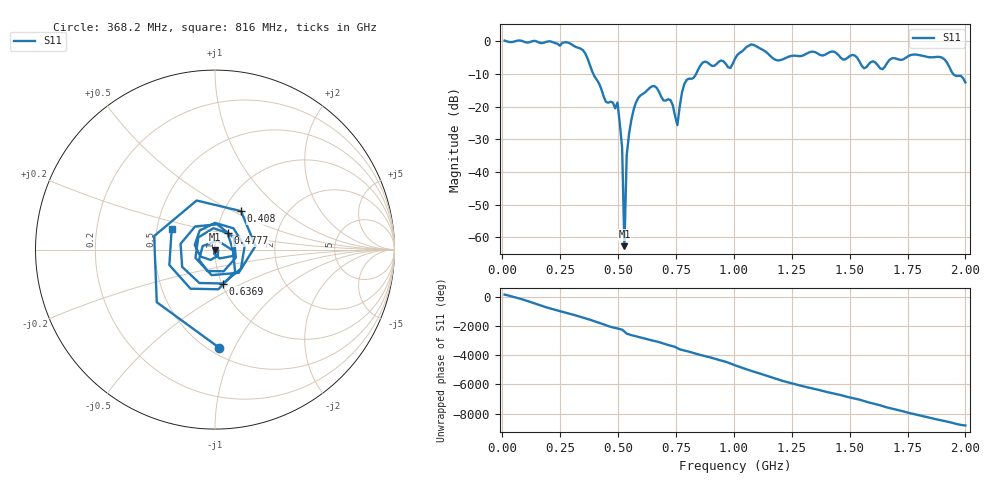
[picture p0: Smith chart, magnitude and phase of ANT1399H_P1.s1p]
!Created with skrf (http://scikit-rf.org).
# Hz S RI R 50.0
!freq ReS11 ImS11
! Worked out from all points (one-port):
!   201 points, 10 MHz to 2 GHz, reference 50 ohm
!   lowest |S11| = -62.7 dB at 527.4 MHz (marker M1), VSWR 1.00, Z = 49.9 + j0.0526 ohm
!   |S11| at or under -10 dB: 393.5 MHz to 836.8 MHz (443.3 MHz wide, 72.1 % of centre); 1.948 GHz to end of sweep
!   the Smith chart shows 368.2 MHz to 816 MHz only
!   S11 on the Smith chart (normalised r, x): 368.2 MHz: 0.56, -0.88; 408 MHz: 1.20, +0.55; 477.6 MHz: 1.13, +0.21; 636.9 MHz: 1.01, -0.40; 816 MHz: 0.60, +0.15
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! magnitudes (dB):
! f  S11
! 10 MHz  0.2
! 258.8 MHz  -0.5
! 368.2 MHz  -5.2
! 408 MHz  -11.7
! 447.8 MHz  -18.5
! 477.6 MHz  -18.7
! 497.6 MHz  -18.7
! 507.5 MHz  -25.1
! 517.5 MHz  -32.5
! 527.4 MHz  -62.7
! 537.4 MHz  -34.8
! 547.3 MHz  -28.4
! 577.1 MHz  -18.7
! 636.9 MHz  -14.2
! 726.4 MHz  -18.0
! 756.2 MHz  -25.6
! 786.1 MHz  -13.1
! 816 MHz  -11.5
! 865.7 MHz  -6.5
! 1.005 GHz  -5.3
! 1.075 GHz  -0.9
! 1.184 GHz  -5.8
! 1.254 GHz  -4.4
! 1.502 GHz  -4.4
! 1.642 GHz  -8.5
! 1.751 GHz  -4.6
! 1.901 GHz  -5.0
! 2 GHz  -12.6
